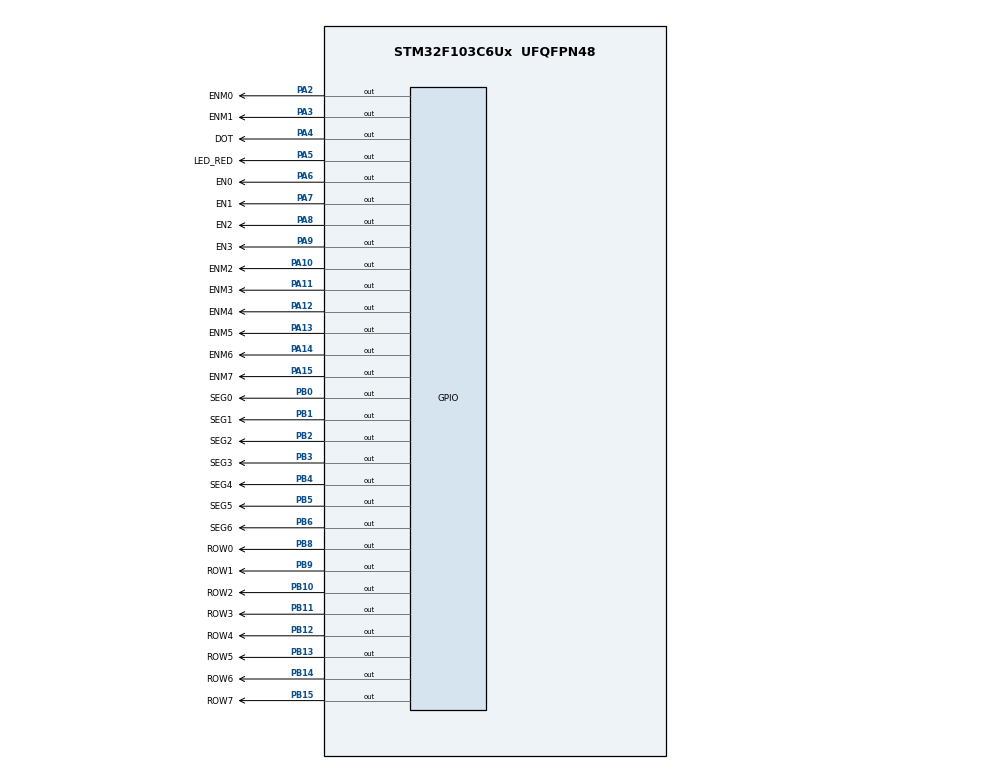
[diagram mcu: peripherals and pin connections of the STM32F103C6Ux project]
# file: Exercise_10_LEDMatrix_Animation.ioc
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Mcu.Family=STM32F1
Mcu.Name=STM32F103C6Ux
Mcu.Package=UFQFPN48
NVIC.PriorityGroup=NVIC_PRIORITYGROUP_4
NVIC.TIM2_IRQn=true\:0\:0\:false\:false\:true\:true\:true\:true
PA10.GPIO_Label=ENM2
PA10.Signal=GPIO_Output
PA11.GPIO_Label=ENM3
PA11.Signal=GPIO_Output
PA12.GPIO_Label=ENM4
PA12.Signal=GPIO_Output
PA13.GPIO_Label=ENM5
PA13.Signal=GPIO_Output
PA14.GPIO_Label=ENM6
PA14.Signal=GPIO_Output
PA15.GPIO_Label=ENM7
PA15.Signal=GPIO_Output
PA2.GPIO_Label=ENM0
PA2.Signal=GPIO_Output
PA3.GPIO_Label=ENM1
PA3.Signal=GPIO_Output
PA4.GPIO_Label=DOT
PA4.Signal=GPIO_Output
PA5.GPIO_Label=LED_RED
PA5.Signal=GPIO_Output
PA6.GPIO_Label=EN0
PA6.Signal=GPIO_Output
PA7.GPIO_Label=EN1
PA7.Signal=GPIO_Output
PA8.GPIO_Label=EN2
PA8.Signal=GPIO_Output
PA9.GPIO_Label=EN3
PA9.Signal=GPIO_Output
PB0.GPIO_Label=SEG0
PB0.Signal=GPIO_Output
PB1.GPIO_Label=SEG1
PB1.Signal=GPIO_Output
PB10.GPIO_Label=ROW2
PB10.Signal=GPIO_Output
PB11.GPIO_Label=ROW3
PB11.Signal=GPIO_Output
PB12.GPIO_Label=ROW4
PB12.Signal=GPIO_Output
PB13.GPIO_Label=ROW5
PB13.Signal=GPIO_Output
PB14.GPIO_Label=ROW6
PB14.Signal=GPIO_Output
PB15.GPIO_Label=ROW7
PB15.Signal=GPIO_Output
PB2.GPIO_Label=SEG2
PB2.Signal=GPIO_Output
PB3.GPIO_Label=SEG3
PB3.Signal=GPIO_Output
PB4.GPIO_Label=SEG4
PB4.Signal=GPIO_Output
PB5.GPIO_Label=SEG5
PB5.Signal=GPIO_Output
PB6.GPIO_Label=SEG6
PB6.Signal=GPIO_Output
PB8.GPIO_Label=ROW0
PB8.Signal=GPIO_Output
PB9.GPIO_Label=ROW1
PB9.Signal=GPIO_Output
ProjectManager.HeapSize=0x200
ProjectManager.StackSize=0x400
ProjectManager.TargetToolchain=Makefile
RCC.APB1Freq_Value=8000000
RCC.APB2Freq_Value=8000000
TIM2.Period=9
TIM2.Prescaler=7999
VP_SYS_VS_ND.Mode=No_Debug
VP_TIM2_VS_ClockSourceINT.Mode=Internal
board=custom

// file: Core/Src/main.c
/* USER CODE BEGIN Header */
/**
  ******************************************************************************
  * @file           : main.c
  * @brief          : Main program body
  ******************************************************************************
  * @attention
  *
  * Copyright (c) 2026 STMicroelectronics.
  * All rights reserved.
  *
  * This software is licensed under terms that can be found in the LICENSE file
  * in the root directory of this software component.
  * If no LICENSE file comes with this software, it is provided AS-IS.
  *
  ******************************************************************************
  */
/* USER CODE END Header */

#include "main.h"

TIM_HandleTypeDef htim2;

/* USER CODE BEGIN PV */
/* Matrix animation timer */
int timerAnimation_counter = 0;
int timerAnimation_flag = 0;
/* USER CODE END PV */

void SystemClock_Config(void);
static void MX_GPIO_Init(void);
static void MX_TIM2_Init(void);

/* USER CODE BEGIN PFP */
void setTimerAnimation(int duration);
void timerAnimation_run(void);
void shiftMatrixLeft(void);
/* USER CODE END PFP */

/* USER CODE BEGIN 0 */

/* =========================================================
   7-SEGMENT DISPLAY

   Common Anode

   SEG = 0 -> ON
   SEG = 1 -> OFF
   ========================================================= */

void display7SEG(uint8_t num)
{
    /*
     * SEG0 = A
     * SEG1 = B
     * SEG2 = C
     * SEG3 = D
     * SEG4 = E
     * SEG5 = F
     * SEG6 = G
     */

    uint8_t seg[10][7] =
    {
        /* A  B  C  D  E  F  G */

        {0, 0, 0, 0, 0, 0, 1},   // 0
        {1, 0, 0, 1, 1, 1, 1},   // 1
        {0, 0, 1, 0, 0, 1, 0},   // 2
        {0, 0, 0, 0, 1, 1, 0},   // 3
        {1, 0, 0, 1, 1, 0, 0},   // 4
        {0, 1, 0, 0, 1, 0, 0},   // 5
        {0, 1, 0, 0, 0, 0, 0},   // 6
        {0, 0, 0, 1, 1, 1, 1},   // 7
        {0, 0, 0, 0, 0, 0, 0},   // 8
        {0, 0, 0, 0, 1, 0, 0}    // 9
    };

    if (num > 9)
    {
        num = 0;
    }

    HAL_GPIO_WritePin(
        SEG0_GPIO_Port,
        SEG0_Pin,
        seg[num][0]
    );

    HAL_GPIO_WritePin(
        SEG1_GPIO_Port,
        SEG1_Pin,
        seg[num][1]
    );

    HAL_GPIO_WritePin(
        SEG2_GPIO_Port,
        SEG2_Pin,
        seg[num][2]
    );

    HAL_GPIO_WritePin(
        SEG3_GPIO_Port,
        SEG3_Pin,
        seg[num][3]
    );

    HAL_GPIO_WritePin(
        SEG4_GPIO_Port,
        SEG4_Pin,
        seg[num][4]
    );

    HAL_GPIO_WritePin(
        SEG5_GPIO_Port,
        SEG5_Pin,
        seg[num][5]
    );

    HAL_GPIO_WritePin(
        SEG6_GPIO_Port,
        SEG6_Pin,
        seg[num][6]
    );
}

/* =========================================================
   7-SEGMENT ENABLE

   PNP transistor:
   LOW  = ON
   HIGH = OFF
   ========================================================= */

void EN0_ON(void)
{
    HAL_GPIO_WritePin(
        EN0_GPIO_Port,
        EN0_Pin,
        GPIO_PIN_RESET
    );
}

void EN0_OFF(void)
{
    HAL_GPIO_WritePin(
        EN0_GPIO_Port,
        EN0_Pin,
        GPIO_PIN_SET
    );
}

void EN1_ON(void)
{
    HAL_GPIO_WritePin(
        EN1_GPIO_Port,
        EN1_Pin,
        GPIO_PIN_RESET
    );
}

void EN1_OFF(void)
{
    HAL_GPIO_WritePin(
        EN1_GPIO_Port,
        EN1_Pin,
        GPIO_PIN_SET
    );
}

void EN2_ON(void)
{
    HAL_GPIO_WritePin(
        EN2_GPIO_Port,
        EN2_Pin,
        GPIO_PIN_RESET
    );
}

void EN2_OFF(void)
{
    HAL_GPIO_WritePin(
        EN2_GPIO_Port,
        EN2_Pin,
        GPIO_PIN_SET
    );
}

void EN3_ON(void)
{
    HAL_GPIO_WritePin(
        EN3_GPIO_Port,
        EN3_Pin,
        GPIO_PIN_RESET
    );
}

void EN3_OFF(void)
{
    HAL_GPIO_WritePin(
        EN3_GPIO_Port,
        EN3_Pin,
        GPIO_PIN_SET
    );
}

void All_Display_Off(void)
{
    EN0_OFF();
    EN1_OFF();
    EN2_OFF();
    EN3_OFF();
}

/* =========================================================
   DIGITAL CLOCK
   ========================================================= */

const int MAX_LED = 4;

int index_led = 0;

int led_buffer[4] =
{
    0, 0, 0, 0
};

/*
 * Initial time
 *
 * 15:08:50
 */

int hour = 15;
int minute = 8;
int second = 50;

/* =========================================================
   UPDATE 7-SEGMENT
   ========================================================= */

void update7SEG(int index)
{
    /*
     * Turn OFF all displays first
     * to avoid ghosting.
     */

    EN0_OFF();
    EN1_OFF();
    EN2_OFF();
    EN3_OFF();

    /*
     * Select display
     */

    switch (index)
    {
        case 0:

            display7SEG(led_buffer[0]);
            EN0_ON();

            break;

        case 1:

            display7SEG(led_buffer[1]);
            EN1_ON();

            break;

        case 2:

            display7SEG(led_buffer[2]);
            EN2_ON();

            break;

        case 3:

            display7SEG(led_buffer[3]);
            EN3_ON();

            break;

        default:

            All_Display_Off();

            break;
    }
}

/* =========================================================
   UPDATE CLOCK BUFFER

   Display:

       HH:MM

   Example:

       15:08

   led_buffer = {1, 5, 0, 8}
   ========================================================= */

void updateClockBuffer(void)
{
    led_buffer[0] = hour / 10;
    led_buffer[1] = hour % 10;

    led_buffer[2] = minute / 10;
    led_buffer[3] = minute % 10;
}

/* =========================================================
   SOFTWARE TIMER 0

   Digital clock = 1 second
   ========================================================= */

volatile int timer0_counter = 0;
volatile int timer0_flag = 0;

/* =========================================================
   SOFTWARE TIMER 1

   7-segment scanning = 250 ms / digit
   ========================================================= */

volatile int timer1_counter = 0;
volatile int timer1_flag = 0;

/* =========================================================
   SOFTWARE TIMER MATRIX

   LED Matrix scanning = 10 ms / column
   ========================================================= */

volatile int timerMatrix_counter = 0;
volatile int timerMatrix_flag = 0;

/*
 * TIM2 interrupt period = 10 ms
 */

int TIMER_CYCLE = 10;

/* =========================================================
   TIMER 0
   ========================================================= */

void setTimer0(int duration)
{
    timer0_counter = duration / TIMER_CYCLE;
    timer0_flag = 0;
}

void timer_run(void)
{
    if (timer0_counter > 0)
    {
        timer0_counter--;

        if (timer0_counter == 0)
        {
            timer0_flag = 1;
        }
    }
}

/* =========================================================
   TIMER 1

   7-SEGMENT SCANNING
   ========================================================= */

void setTimer1(int duration)
{
    timer1_counter = duration / TIMER_CYCLE;
    timer1_flag = 0;
}

void timer1_run(void)
{
    if (timer1_counter > 0)
    {
        timer1_counter--;

        if (timer1_counter == 0)
        {
            timer1_flag = 1;
        }
    }
}

/* =========================================================
   MATRIX TIMER
   ========================================================= */

void setTimerMatrix(int duration)
{
    timerMatrix_counter = duration / TIMER_CYCLE;
    timerMatrix_flag = 0;
}

void timerMatrix_run(void)
{
    if (timerMatrix_counter > 0)
    {
        timerMatrix_counter--;

        if (timerMatrix_counter == 0)
        {
            timerMatrix_flag = 1;
        }
    }
}

/* =========================================================
   LED MATRIX 8x8

   Matrix columns:

   ENM0 -> PA2
   ENM1 -> PA3
   ENM2 -> PA10
   ENM3 -> PA11
   ENM4 -> PA12
   ENM5 -> PA13
   ENM6 -> PA14
   ENM7 -> PA15

   Matrix rows / data:

   ROW0 -> PB8
   ROW1 -> PB9
   ROW2 -> PB10
   ROW3 -> PB11
   ROW4 -> PB12
   ROW5 -> PB13
   ROW6 -> PB14
   ROW7 -> PB15
   ========================================================= */

/*
 * Number of matrix columns
 */

const int MAX_LED_MATRIX = 8;

/*
 * Current column
 */

int index_led_matrix = 0;

/*
 * Character A
 *
 *      00111100
 *      01100110
 *      11000011
 *      11000011
 *      11111111
 *      11000011
 *      11000011
 *      11000011
 *
 *
 * Each byte represents the data sent
 * to ROW0...ROW7.
 */

uint8_t matrix_buffer[8] =
{
    0xFC,
    0xFE,
    0x13,
    0x13,
    0x13,
    0x13,
    0xFE,
    0xFC
};

/* =========================================================
   MATRIX SCROLLING ANIMATION
   ========================================================= */

const uint8_t matrix_A[8] =
{
    0xFC,
    0xFE,
    0x13,
    0x11,
    0x11,
    0x13,
    0xFE,
    0xFC
};

int matrix_scroll_position = 0;

/* =========================================================
   TURN OFF ALL MATRIX COLUMNS
   ========================================================= */

void Matrix_All_Off(void)
{
    /*
     * ULN2803:
     *
     * ENM = HIGH
     * -> ULN output LOW
     * -> COL LOW
     * -> Column OFF
     */

    HAL_GPIO_WritePin(
        ENM0_GPIO_Port,
        ENM0_Pin,
        GPIO_PIN_SET
    );

    HAL_GPIO_WritePin(
        ENM1_GPIO_Port,
        ENM1_Pin,
        GPIO_PIN_SET
    );

    HAL_GPIO_WritePin(
        ENM2_GPIO_Port,
        ENM2_Pin,
        GPIO_PIN_SET
    );

    HAL_GPIO_WritePin(
        ENM3_GPIO_Port,
        ENM3_Pin,
        GPIO_PIN_SET
    );

    HAL_GPIO_WritePin(
        ENM4_GPIO_Port,
        ENM4_Pin,
        GPIO_PIN_SET
    );

    HAL_GPIO_WritePin(
        ENM5_GPIO_Port,
        ENM5_Pin,
        GPIO_PIN_SET
    );

    HAL_GPIO_WritePin(
        ENM6_GPIO_Port,
        ENM6_Pin,
        GPIO_PIN_SET
    );

    HAL_GPIO_WritePin(
        ENM7_GPIO_Port,
        ENM7_Pin,
        GPIO_PIN_SET
    );
}

/* =========================================================
   SET MATRIX ROW DATA

   matrix_buffer[index]
   -> ROW0...ROW7
   ========================================================= */

void Matrix_Set_Row(uint8_t data)
{
    /*
     * MATRIX-8X8-RED:
     *
     * ROW = LOW  -> LED ON
     * ROW = HIGH -> LED OFF
     *
     * Therefore:
     *
     * bit = 1 -> LOW
     * bit = 0 -> HIGH
     */

    HAL_GPIO_WritePin(
        ROW0_GPIO_Port,
        ROW0_Pin,
        (data & 0x01)
            ? GPIO_PIN_RESET
            : GPIO_PIN_SET
    );

    HAL_GPIO_WritePin(
        ROW1_GPIO_Port,
        ROW1_Pin,
        (data & 0x02)
            ? GPIO_PIN_RESET
            : GPIO_PIN_SET
    );

    HAL_GPIO_WritePin(
        ROW2_GPIO_Port,
        ROW2_Pin,
        (data & 0x04)
            ? GPIO_PIN_RESET
            : GPIO_PIN_SET
    );

    HAL_GPIO_WritePin(
        ROW3_GPIO_Port,
        ROW3_Pin,
        (data & 0x08)
            ? GPIO_PIN_RESET
            : GPIO_PIN_SET
    );

    HAL_GPIO_WritePin(
        ROW4_GPIO_Port,
        ROW4_Pin,
        (data & 0x10)
            ? GPIO_PIN_RESET
            : GPIO_PIN_SET
    );

    HAL_GPIO_WritePin(
        ROW5_GPIO_Port,
        ROW5_Pin,
        (data & 0x20)
            ? GPIO_PIN_RESET
            : GPIO_PIN_SET
    );

    HAL_GPIO_WritePin(
        ROW6_GPIO_Port,
        ROW6_Pin,
        (data & 0x40)
            ? GPIO_PIN_RESET
            : GPIO_PIN_SET
    );

    HAL_GPIO_WritePin(
        ROW7_GPIO_Port,
        ROW7_Pin,
        (data & 0x80)
            ? GPIO_PIN_RESET
            : GPIO_PIN_SET
    );
}

/* =========================================================
   UPDATE LED MATRIX

   index = current column

   matrix_buffer[index]
   -> ROW0...ROW7

   Then enable ENM[index]
   ========================================================= */

void updateLEDMatrix(int index)
{
    if (index < 0 || index >= MAX_LED_MATRIX)
    {
        Matrix_All_Off();
        return;
    }

    /*
     * Turn OFF all columns first
     */
    Matrix_All_Off();

    /*
     * Put data on ROW0...ROW7
     */
    Matrix_Set_Row(matrix_buffer[index]);

    /*
     * Select ONE column.
     *
     * ENM = LOW
     * -> ULN2803 OFF
     * -> resistor pulls COL to +3.3V
     * -> column ON
     */

    switch (index)
    {
        case 0:

            HAL_GPIO_WritePin(
                ENM0_GPIO_Port,
                ENM0_Pin,
                GPIO_PIN_RESET
            );

            break;

        case 1:

            HAL_GPIO_WritePin(
                ENM1_GPIO_Port,
                ENM1_Pin,
                GPIO_PIN_RESET
            );

            break;

        case 2:

            HAL_GPIO_WritePin(
                ENM2_GPIO_Port,
                ENM2_Pin,
                GPIO_PIN_RESET
            );

            break;

        case 3:

            HAL_GPIO_WritePin(
                ENM3_GPIO_Port,
                ENM3_Pin,
                GPIO_PIN_RESET
            );

            break;

        case 4:

            HAL_GPIO_WritePin(
                ENM4_GPIO_Port,
                ENM4_Pin,
                GPIO_PIN_RESET
            );

            break;

        case 5:

            HAL_GPIO_WritePin(
                ENM5_GPIO_Port,
                ENM5_Pin,
                GPIO_PIN_RESET
            );

            break;

        case 6:

            HAL_GPIO_WritePin(
                ENM6_GPIO_Port,
                ENM6_Pin,
                GPIO_PIN_RESET
            );

            break;

        case 7:

            HAL_GPIO_WritePin(
                ENM7_GPIO_Port,
                ENM7_Pin,
                GPIO_PIN_RESET
            );

            break;

        default:

            Matrix_All_Off();

            break;
    }
}

void setTimerAnimation(int duration)
{
    timerAnimation_counter = duration / TIMER_CYCLE;
    timerAnimation_flag = 0;
}

void timerAnimation_run(void)
{
    if (timerAnimation_counter > 0)
    {
        timerAnimation_counter--;

        if (timerAnimation_counter == 0)
        {
            timerAnimation_flag = 1;
        }
    }
}

void updateMatrixAnimation(void)
{
    int i;
    int source_index;

    /*
     * Virtual screen:
     *
     * 8 columns blank
     * + 8 columns character A
     * + 8 columns blank
     *
     * Total = 24 columns
     */

    for (i = 0; i < 8; i++)
    {
        source_index = matrix_scroll_position + i;

        if (source_index >= 8 && source_index < 16)
        {
            /*
             * Character A is currently visible
             */

            matrix_buffer[i] =
                matrix_A[source_index - 8];
        }
        else
        {
            /*
             * Outside character A
             */

            matrix_buffer[i] = 0x00;
        }
    }

    /*
     * Move one column to the left
     */

    matrix_scroll_position++;

    /*
     * After A completely leaves the screen,
     * start again from the right side.
     */

    if (matrix_scroll_position > 16)
    {
        matrix_scroll_position = 0;
    }
}
/* USER CODE END 0 */

int main(void)
{
    /* MCU Configuration--------------------------------------------------------*/

    HAL_Init();

    SystemClock_Config();

    /*
     * Initialize peripherals
     */

    MX_GPIO_Init();
    MX_TIM2_Init();

    /* USER CODE BEGIN 2 */

    /*
     * Turn OFF all 7-segment displays
     */

    EN0_OFF();
    EN1_OFF();
    EN2_OFF();
    EN3_OFF();

    /*
     * Turn OFF LED Matrix
     */

    Matrix_All_Off();

    /*
     * Turn OFF DOT
     */

    HAL_GPIO_WritePin(
        DOT_GPIO_Port,
        DOT_Pin,
        GPIO_PIN_SET
    );

    /*
     * Turn OFF red LED initially
     */

    HAL_GPIO_WritePin(
        LED_RED_GPIO_Port,
        LED_RED_Pin,
        GPIO_PIN_RESET
    );

    /*
     * Initial clock display
     */

    updateClockBuffer();

    /*
     * Start TIM2 interrupt
     */

    HAL_TIM_Base_Start_IT(&htim2);

    /*
     * Timer 0:
     *
     * Digital clock = 1 second
     */

    setTimer0(1000);

    /*
     * Timer 1:
     *
     * 7SEG = 250 ms / digit
     */

    setTimer1(250);

    /*
     * Matrix:
     *
     * 10 ms / column
     */

    setTimerMatrix(10);
    setTimerAnimation(150);

    /* USER CODE END 2 */

    /* Infinite loop */
    /* USER CODE BEGIN WHILE */

    while (1)
{
    /* 7 SEGMENT */

    if (timer1_flag == 1)
    {
        timer1_flag = 0;

        update7SEG(index_led);

        index_led++;

        if (index_led >= MAX_LED)
        {
            index_led = 0;
        }

        setTimer1(250);
    }

    /* LED MATRIX SCANNING */

    if (timerMatrix_flag == 1)
    {
        timerMatrix_flag = 0;

        updateLEDMatrix(index_led_matrix);

        index_led_matrix++;

        if (index_led_matrix >= MAX_LED_MATRIX)
        {
            index_led_matrix = 0;
        }

        setTimerMatrix(10);
    }

    /* MATRIX ANIMATION */

    if (timerAnimation_flag == 1)
    {
        timerAnimation_flag = 0;

        updateMatrixAnimation();

        setTimerAnimation(150);
    }

    /* DIGITAL CLOCK */

    if (timer0_flag == 1)
    {
        timer0_flag = 0;

        second++;

        if (second >= 60)
        {
            second = 0;
            minute++;
        }

        if (minute >= 60)
        {
            minute = 0;
            hour++;
        }

        if (hour >= 24)
        {
            hour = 0;
        }

        updateClockBuffer();

        HAL_GPIO_TogglePin(
            DOT_GPIO_Port,
            DOT_Pin
        );

        setTimer0(1000);
    }
}

    /* USER CODE END WHILE */

}

void SystemClock_Config(void)
{
    RCC_OscInitTypeDef RCC_OscInitStruct = {0};
    RCC_ClkInitTypeDef RCC_ClkInitStruct = {0};

    /*
     * HSI = 8 MHz
     */

    RCC_OscInitStruct.OscillatorType =
        RCC_OSCILLATORTYPE_HSI;

    RCC_OscInitStruct.HSIState =
        RCC_HSI_ON;

    RCC_OscInitStruct.HSICalibrationValue =
        RCC_HSICALIBRATION_DEFAULT;

    RCC_OscInitStruct.PLL.PLLState =
        RCC_PLL_NONE;

    if (HAL_RCC_OscConfig(&RCC_OscInitStruct) != HAL_OK)
    {
        Error_Handler();
    }

    /*
     * CPU / AHB / APB clocks
     */

    RCC_ClkInitStruct.ClockType =
        RCC_CLOCKTYPE_HCLK |
        RCC_CLOCKTYPE_SYSCLK |
        RCC_CLOCKTYPE_PCLK1 |
        RCC_CLOCKTYPE_PCLK2;

    RCC_ClkInitStruct.SYSCLKSource =
        RCC_SYSCLKSOURCE_HSI;

    RCC_ClkInitStruct.AHBCLKDivider =
        RCC_SYSCLK_DIV1;

    RCC_ClkInitStruct.APB1CLKDivider =
        RCC_HCLK_DIV1;

    RCC_ClkInitStruct.APB2CLKDivider =
        RCC_HCLK_DIV1;

    if (HAL_RCC_ClockConfig(
            &RCC_ClkInitStruct,
            FLASH_LATENCY_0) != HAL_OK)
    {
        Error_Handler();
    }
}

static void MX_TIM2_Init(void)
{
    TIM_ClockConfigTypeDef sClockSourceConfig = {0};
    TIM_MasterConfigTypeDef sMasterConfig = {0};

    htim2.Instance = TIM2;

    /*
     * 8 MHz / (7999 + 1) = 1000 Hz
     *
     * Period = 9
     *
     * 1000 Hz / (9 + 1) = 100 Hz
     *
     * Interrupt = 10 ms
     */

    htim2.Init.Prescaler = 7999;

    htim2.Init.CounterMode =
        TIM_COUNTERMODE_UP;

    htim2.Init.Period = 9;

    htim2.Init.ClockDivision =
        TIM_CLOCKDIVISION_DIV1;

    htim2.Init.AutoReloadPreload =
        TIM_AUTORELOAD_PRELOAD_DISABLE;

    if (HAL_TIM_Base_Init(&htim2) != HAL_OK)
    {
        Error_Handler();
    }

    sClockSourceConfig.ClockSource =
        TIM_CLOCKSOURCE_INTERNAL;

    if (HAL_TIM_ConfigClockSource(
            &htim2,
            &sClockSourceConfig) != HAL_OK)
    {
        Error_Handler();
    }

    sMasterConfig.MasterOutputTrigger =
        TIM_TRGO_RESET;

    sMasterConfig.MasterSlaveMode =
        TIM_MASTERSLAVEMODE_DISABLE;

    if (HAL_TIMEx_MasterConfigSynchronization(
            &htim2,
            &sMasterConfig) != HAL_OK)
    {
        Error_Handler();
    }
}

static void MX_GPIO_Init(void)
{
    GPIO_InitTypeDef GPIO_InitStruct = {0};

    /* =====================================================
       GPIO CLOCK ENABLE
       ===================================================== */

    __HAL_RCC_GPIOA_CLK_ENABLE();
    __HAL_RCC_GPIOB_CLK_ENABLE();

    /*
     * PA13, PA14 and PA15 are normally used by
     * SWJ/JTAG/SWD.
     *
     * They are used here for ENM5, ENM6 and ENM7.
     */

    __HAL_RCC_AFIO_CLK_ENABLE();

    __HAL_AFIO_REMAP_SWJ_DISABLE();

    /* =====================================================
       GPIOA INITIAL OUTPUT LEVEL
       ===================================================== */

    /*
     * 7SEG enable:
     *
     * HIGH = OFF
     */

    HAL_GPIO_WritePin(
        GPIOA,
        EN0_Pin |
        EN1_Pin |
        EN2_Pin |
        EN3_Pin,
        GPIO_PIN_SET
    );

    /*
     * Matrix enable:
     *
     * LOW = OFF
     */

    HAL_GPIO_WritePin(
        GPIOA,
        ENM0_Pin |
        ENM1_Pin |
        ENM2_Pin |
        ENM3_Pin |
        ENM4_Pin |
        ENM5_Pin |
        ENM6_Pin |
        ENM7_Pin,
        GPIO_PIN_RESET
    );

    /*
     * DOT OFF
     *
     * HIGH = OFF
     */

    HAL_GPIO_WritePin(
        GPIOA,
        DOT_Pin,
        GPIO_PIN_SET
    );

    /*
     * RED LED OFF initially
     */

    HAL_GPIO_WritePin(
        GPIOA,
        LED_RED_Pin,
        GPIO_PIN_RESET
    );

    /* =====================================================
       GPIOB INITIAL OUTPUT LEVEL
       ===================================================== */

    /*
     * 7SEG segments OFF
     *
     * Common Anode:
     *
     * HIGH = OFF
     */

    HAL_GPIO_WritePin(
        GPIOB,
        SEG0_Pin |
        SEG1_Pin |
        SEG2_Pin |
        SEG3_Pin |
        SEG4_Pin |
        SEG5_Pin |
        SEG6_Pin,
        GPIO_PIN_SET
    );

    /*
     * Matrix rows OFF
     */

    HAL_GPIO_WritePin(
        GPIOB,
        ROW0_Pin |
        ROW1_Pin |
        ROW2_Pin |
        ROW3_Pin |
        ROW4_Pin |
        ROW5_Pin |
        ROW6_Pin |
        ROW7_Pin,
        GPIO_PIN_RESET
    );

    /* =====================================================
       GPIOA CONFIGURATION
       ===================================================== */

    GPIO_InitStruct.Pin =
        ENM0_Pin |
        ENM1_Pin |
        DOT_Pin |
        LED_RED_Pin |
        EN0_Pin |
        EN1_Pin |
        EN2_Pin |
        EN3_Pin |
        ENM2_Pin |
        ENM3_Pin |
        ENM4_Pin |
        ENM5_Pin |
        ENM6_Pin |
        ENM7_Pin;

    GPIO_InitStruct.Mode =
        GPIO_MODE_OUTPUT_PP;

    GPIO_InitStruct.Pull =
        GPIO_NOPULL;

    GPIO_InitStruct.Speed =
        GPIO_SPEED_FREQ_LOW;

    HAL_GPIO_Init(
        GPIOA,
        &GPIO_InitStruct
    );

    /* =====================================================
       GPIOB CONFIGURATION
       ===================================================== */

    GPIO_InitStruct.Pin =
        SEG0_Pin |
        SEG1_Pin |
        SEG2_Pin |
        SEG3_Pin |
        SEG4_Pin |
        SEG5_Pin |
        SEG6_Pin |
        ROW0_Pin |
        ROW1_Pin |
        ROW2_Pin |
        ROW3_Pin |
        ROW4_Pin |
        ROW5_Pin |
        ROW6_Pin |
        ROW7_Pin;

    GPIO_InitStruct.Mode =
        GPIO_MODE_OUTPUT_PP;

    GPIO_InitStruct.Pull =
        GPIO_NOPULL;

    GPIO_InitStruct.Speed =
        GPIO_SPEED_FREQ_LOW;

    HAL_GPIO_Init(
        GPIOB,
        &GPIO_InitStruct
    );
}

/* =========================================================
   TIM2 CALLBACK

   Exercise 8/9:

   Interrupt ONLY handles software timers.

   No display processing is performed here.
   ========================================================= */

void HAL_TIM_PeriodElapsedCallback(TIM_HandleTypeDef *htim)
{
    if (htim->Instance == TIM2)
    {
        timer_run();
        timer1_run();
        timerMatrix_run();
        timerAnimation_run();
    }
}

void Error_Handler(void)
{
    __disable_irq();

    while (1)
    {
    }
}
